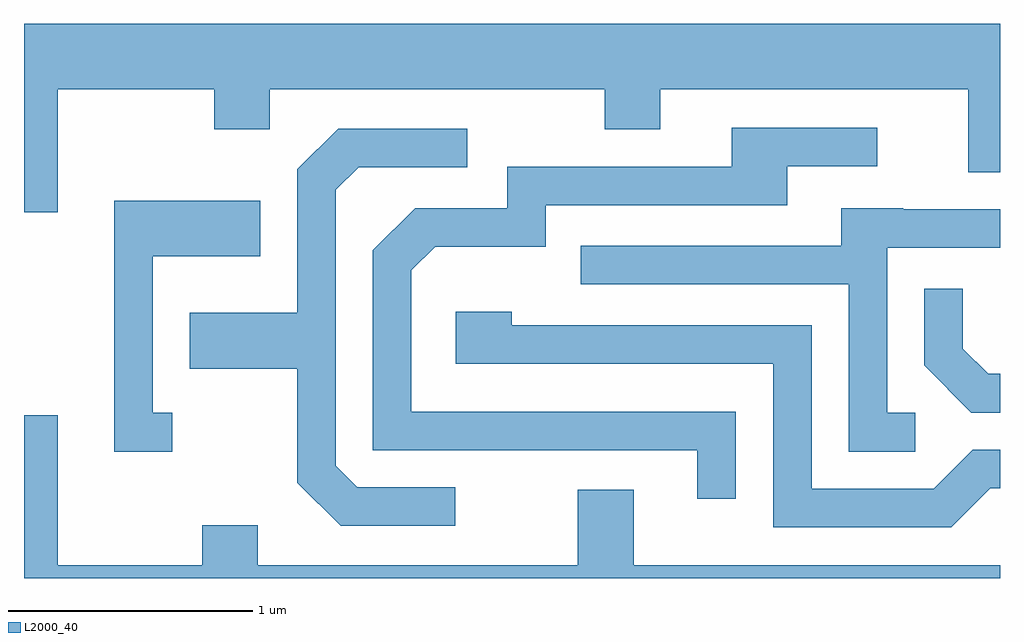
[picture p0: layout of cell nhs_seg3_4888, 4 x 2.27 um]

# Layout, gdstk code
import gdstk
lib = gdstk.Library(unit=1e-6, precision=1e-09)
def P(c, l, *ps):  # polygons
    for p in ps: c.add(gdstk.Polygon(p, *l))
L2000_40 = (2000, 40)

nhs_seg3_4888 = lib.new_cell('nhs_seg3_4888')
P(nhs_seg3_4888, L2000_40, [(327.749,1245.896),(328.391,1245.896),(328.391,1245.731),(328.619,1245.731),(328.619,1245.896),(329.991,1245.896),(329.991,1245.731),(330.219,1245.731),(330.219,1245.896),(331.481,1245.896),(331.481,1245.556),(331.611,1245.556),(331.611,1246.164),(327.611,1246.164),(327.611,1245.391),(327.749,1245.391)],
  [(330.529,1244.574),(329.199,1244.574),(329.199,1245.154),(329.297,1245.251),(329.749,1245.251),(329.749,1245.421),(330.739,1245.421),(330.739,1245.581),(331.108,1245.581),(331.108,1245.739),(330.511,1245.739),(330.511,1245.579),(329.591,1245.579),(329.591,1245.409),(329.214,1245.409),(329.041,1245.237),(329.041,1244.416),(330.371,1244.416),(330.371,1244.218),(330.529,1244.218)],
  [(329.378,1244.264),(328.977,1244.264),(328.889,1244.352),(328.889,1245.484),(328.982,1245.576),(329.428,1245.576),(329.428,1245.734),(328.899,1245.734),(328.731,1245.567),(328.731,1244.979),(328.291,1244.979),(328.291,1244.751),(328.731,1244.751),(328.731,1244.284),(328.909,1244.106),(329.378,1244.106)],
  [(328.218,1244.569),(328.139,1244.569),(328.139,1245.211),(328.579,1245.211),(328.579,1245.439),(327.981,1245.439),(327.981,1244.411),(328.218,1244.411)],
  [(331.263,1244.569),(331.149,1244.569),(331.149,1245.246),(331.611,1245.246),(331.611,1245.404),(331.215,1245.404),(331.215,1245.409),(330.961,1245.409),(330.961,1245.254),(329.893,1245.254),(329.893,1245.096),(330.991,1245.096),(330.991,1244.411),(331.263,1244.411)],
  [(331.611,1244.729),(331.562,1244.729),(331.459,1244.832),(331.459,1245.078),(331.301,1245.078),(331.301,1244.764),(331.494,1244.571),(331.611,1244.571)],
  [(331.572,1244.261),(331.611,1244.261),(331.611,1244.419),(331.499,1244.419),(331.339,1244.259),(330.839,1244.259),(330.839,1244.929),(329.609,1244.929),(329.609,1244.984),(329.381,1244.984),(329.381,1244.771),(330.681,1244.771),(330.681,1244.101),(331.412,1244.101)],
  [(331.611,1243.944),(330.109,1243.944),(330.109,1244.254),(329.881,1244.254),(329.881,1243.944),(328.569,1243.944),(328.569,1244.109),(328.341,1244.109),(328.341,1243.944),(327.749,1243.944),(327.749,1244.559),(327.611,1244.559),(327.611,1243.892),(331.611,1243.892)])

lib.write_gds('nhs_seg3_4888.gds')
